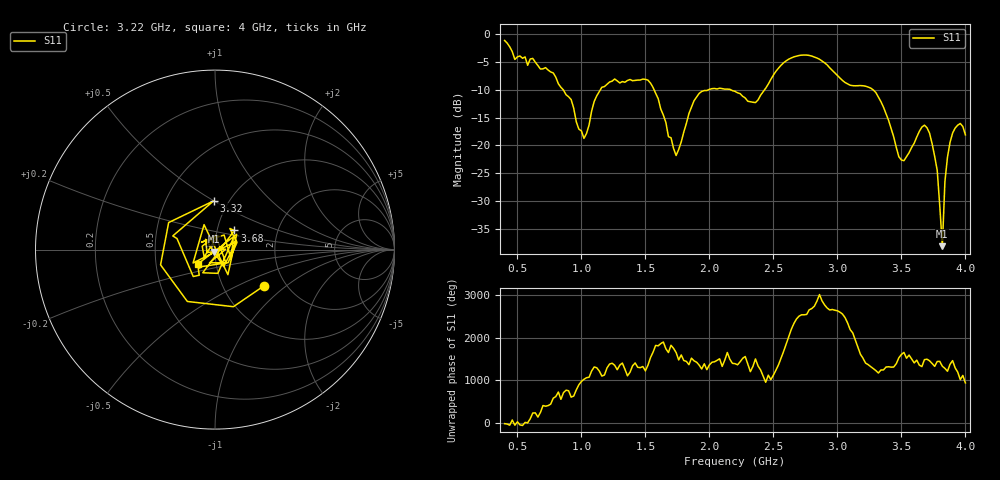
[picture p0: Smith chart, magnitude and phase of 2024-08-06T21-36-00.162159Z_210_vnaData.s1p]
!Created with skrf (http://scikit-rf.org).
# Hz S RI R 50.0
!freq ReS11 ImS11
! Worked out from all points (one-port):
!   181 points, 400 MHz to 4 GHz, reference 50 ohm
!   lowest |S11| = -38.1 dB at 3.82 GHz (marker M1), VSWR 1.03, Z = 49.5 - j1.14 ohm
!   |S11| at or under -10 dB: 857.9 MHz to 1.148 GHz (290.1 MHz wide, 28.9 % of centre); 1.568 GHz to 1.993 GHz (425.7 MHz wide, 23.9 % of centre); 3.278 GHz to end of sweep (the widest 3 of 4)
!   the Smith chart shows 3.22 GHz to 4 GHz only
!   S11 on the Smith chart (normalised r, x): 3.22 GHz: 1.56, -0.71; 3.32 GHz: 0.85, +0.50; 3.68 GHz: 1.21, +0.26; 4 GHz: 0.82, -0.13
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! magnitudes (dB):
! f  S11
! 400 MHz  -1.1
! 480 MHz  -4.6
! 620 MHz  -4.4
! 860 MHz  -10.1
! 1.02 GHz  -18.8
! 1.16 GHz  -9.5
! 1.3 GHz  -8.8
! 1.52 GHz  -8.3
! 1.74 GHz  -21.8
! 1.76 GHz  -20.8
! 1.92 GHz  -10.7
! 2.2 GHz  -10.3
! 2.36 GHz  -12.3
! 2.66 GHz  -4.1
! 2.86 GHz  -4.5
! 3.1 GHz  -9.2
! 3.22 GHz  -9.4
! 3.32 GHz  -11.3
! 3.48 GHz  -22.1
! 3.56 GHz  -21.3
! 3.68 GHz  -16.4
! 3.72 GHz  -17.8
! 3.78 GHz  -24.5
! 3.82 GHz  -38.1
! 3.84 GHz  -26.5
! 3.88 GHz  -19.5
! 3.96 GHz  -16.1
! 4 GHz  -18.1
